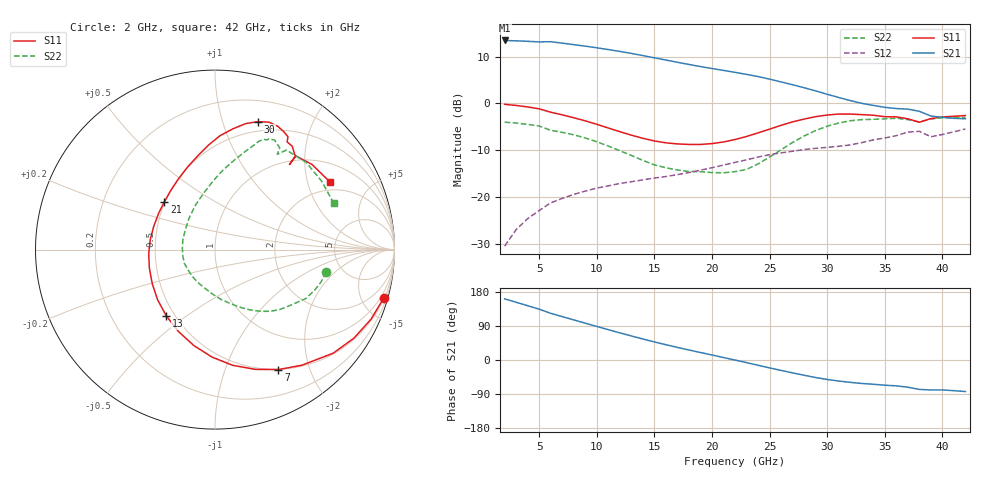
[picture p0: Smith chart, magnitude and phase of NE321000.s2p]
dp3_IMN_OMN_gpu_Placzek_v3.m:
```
%% 5-Element IMN Chebyshev Matching Network with Transformer for NE321000
% Implements the specific IMN topology: C5-C4-L3-L2-L6 with transformer
% For NEC NE321000 Transistor
% Design specifications:
% - Frequency range: 9-20 GHz
% - Sloped response (6 dB/octave)
% - IL_min = 0.0 dB and Ripple = 0.1 dB

clc;
clear all;
close all;



%% Constants and Unit Conversion
G = 10^9;    % 1 GHz
M = 10^6;    % 1 MHz
K = 10^3;    % 1 kHz
m = 10^-3;   % 1 milli
u = 10^-6;   % 1 micro
n = 10^-9;   % 1 nano
p = 10^-12;  % 1 pico
f = 10^-15;  % 1 femto

%% User Variables from Project Specs
fL = 9*G;    % Lower frequency (Hz)
fH = 20*G;   % Upper frequency (Hz)
f0 = sqrt(fL*fH);  % Center frequency (Hz)
fc = f0;     % Design center frequency (Hz)
BW_design = fH - fL;  % Design bandwidth (Hz)
Zs = 50;     % Source impedance (ohm)
Z0 = 50;     % System impedance (ohm)
N = 5;       % Network order (5 reactive elements)
Goal = -15;  % Goal S11 (dB)
ripple = 0.1; % Passband ripple in dB for Chebyshev filter
NS = 1;      % Use sloped insertion loss function (6 dB/octave)
NF = 14;     % Font size for plots

% Component bounds for optimization
L_lb = 0.2e-9;  % Lower bound of inductance (nH)
L_ub = 10.0e-9; % Upper bound of inductance (nH)
C_lb = 0.05e-12; % Lower bound of capacitance (pF)
C_ub = 5.0e-12;  % Upper bound of capacitance (pF)

% Transistor input impedance model parameters (from project specs)
Ri = 23.0767;         % Input resistance (ohms)
Ci = 245.2104 * f;    % Input capacitance (F)
Li = 347.8189 * p;    % Input inductance (H)

%% Frequency calculations
f_min = 8*G;   % Min freq for plotting (Hz)
f_max = 22*G;  % Max freq for plotting (Hz)
df = 50*M;     % Frequency step (Hz)

% Initialize frequency sweep
freq = f_min:df:f_max;
freq_key = [fL, f0, fH];
freq = union(freq, freq_key);
freq = sort(freq);
N_Freq = length(freq);
w = 2*pi*freq;  % Angular frequency

% Important angular frequencies
wU = 2*pi*fH;    % Upper angular frequency
wL = 2*pi*fL;    % Lower angular frequency
w0 = sqrt(wL*wU); % Center angular frequency
BW_w = wU - wL;  % Bandwidth (rad/s)

%% S-Parameter Reading for the NE321000 Transistor
% Read the S-parameter data from the uploaded file
fprintf('Reading S-parameters from NE321000.s2p file...\n');
[freq_FET, S_FET, Mult, S_Type] = Read_SParam_s2p('NE321000.s2p');

% Calculate impedance at each frequency point
Z0_FET = 50; % Assume 50 ohm reference
S11_FET = squeeze(S_FET(:,1,1));
Z_FET = Z0_FET * (1 + S11_FET) ./ (1 - S11_FET);

% Plot transistor S-parameters and impedance
figure(1);
plot(freq_FET/G, 20*log10(abs(squeeze(S_FET(:,1,1)))), 'b-', 'LineWidth', 1.5); hold on;
plot(freq_FET/G, 20*log10(abs(squeeze(S_FET(:,2,1)))), 'r-', 'LineWidth', 1.5);
grid on;
xlabel('Frequency (GHz)', 'FontSize', NF);
ylabel('Magnitude (dB)', 'FontSize', NF);
title('NE321000 Transistor S-Parameters', 'FontSize', NF);
legend('S11', 'S21', 'Location', 'best');
set(gca, 'FontSize', NF);

figure(2);
plot(freq_FET/G, real(Z_FET), 'b-', 'LineWidth', 1.5); hold on;
plot(freq_FET/G, imag(Z_FET), 'r-', 'LineWidth', 1.5);
grid on;
xlabel('Frequency (GHz)', 'FontSize', NF);
ylabel('Impedance (Ω)', 'FontSize', NF);
title('NE321000 Transistor Input Impedance', 'FontSize', NF);
legend('Real', 'Imaginary', 'Location', 'best');
set(gca, 'FontSize', NF);

%% Filter prototype - Chebyshev type I
% Calculate Chebyshev type I prototype element values
g = cheby1_g(N, ripple);

% Convert normalized filter prototype to component values
% The topology is: C5 (series) - C4 (shunt) - L3 (shunt) - L2 (series) - L6 (shunt)

% Calculate bandpass transformation scaling factors
FBW = BW_design/f0; % Fractional bandwidth

% For bandpass with Chebyshev prototype:
C5 = 1/(BW_w*Z0*w0*g(1));      % Series capacitor
C4 = g(2)/(BW_w*Z0);           % Shunt capacitor  
L3 = Z0*(BW_w)/(w0^2*g(3));    % Shunt inductor
L2 = Z0*g(4)/(BW_w);           % Series inductor
L6 = Z0*(BW_w)/(w0^2*g(5));    % Shunt inductor

% Store initial values
C5_init = C5;
C4_init = C4;
L3_init = L3;
L2_init = L2;
L6_init = L6;

% Display initial values (in pF and nH)
fprintf('Initial component values from Chebyshev prototype:\n');
fprintf('C5 = %.4f pF (series)\n', C5*1e12);
fprintf('C4 = %.4f pF (shunt)\n', C4*1e12);
fprintf('L3 = %.4f nH (shunt)\n', L3*1e9);
fprintf('L2 = %.4f nH (series)\n', L2*1e9);
fprintf('L6 = %.4f nH (shunt)\n', L6*1e9);

%% Transformer turns ratio calculation
% Calculate transformer initial value based on input impedance
nt_initial = sqrt(Z0/Ri);
fprintf('Initial transformer turns ratio = %.4f\n', nt_initial);

%% Impedance Matching Optimization
% Prepare optimization variables
x0 = [C5*1e12, C4*1e12, L3*1e9, L2*1e9, L6*1e9, nt_initial];  % Initial values [pF, pF, nH, nH, nH, ratio]
lb = [C_lb, C_lb, L_lb, L_lb, L_lb, 0.5];  % Lower bounds
ub = [C_ub, C_ub, L_ub, L_ub, L_ub, 3.0];  % Upper bounds

% Optimization function for sloped response
objFun = @(x) evaluate_network_sloped(x, freq, N_Freq, Ri, Ci, Li, Z0, Goal, fL, fH);

% Run the optimizer
fprintf('Starting optimization...\n');
options = optimoptions('fmincon', 'Display', 'iter', 'MaxIterations', 100, 'MaxFunctionEvaluations', 500);
[xopt, fval] = fmincon(objFun, x0, [], [], [], [], lb, ub, [], options);

% Get optimized component values
C5_opt = xopt(1)*1e-12;  % Convert back to F
C4_opt = xopt(2)*1e-12;
L3_opt = xopt(3)*1e-9;   % Convert back to H
L2_opt = xopt(4)*1e-9;
L6_opt = xopt(5)*1e-9;
nt_opt = xopt(6);        % Transformer turns ratio

% Display optimized values
fprintf('\nOptimized component values:\n');
fprintf('C5 = %.4f pF (series)\n', C5_opt*1e12);
fprintf('C4 = %.4f pF (shunt)\n', C4_opt*1e12);
fprintf('L3 = %.4f nH (shunt)\n', L3_opt*1e9);
fprintf('L2 = %.4f nH (series)\n', L2_opt*1e9);
fprintf('L6 = %.4f nH (shunt)\n', L6_opt*1e9);
fprintf('Transformer turns ratio = %.4f\n', nt_opt);
fprintf('Objective function value: %.4f\n', fval);

%% Evaluate initial and optimized networks
[S11_init, S21_init] = evaluate_full_network([C5_init*1e12, C4_init*1e12, L3_init*1e9, L2_init*1e9, L6_init*1e9, nt_initial], freq, Ri, Ci, Li, Z0);
[S11_opt, S21_opt] = evaluate_full_network([C5_opt*1e12, C4_opt*1e12, L3_opt*1e9, L2_opt*1e9, L6_opt*1e9, nt_opt], freq, Ri, Ci, Li, Z0);

% Find S-parameters at key frequencies
I_fx = ismember(freq, freq_key);
S11_fx_dB = 20*log10(abs(S11_opt(I_fx)));
S21_fx_dB = 20*log10(abs(S21_opt(I_fx)));

%% Plot results
figure(3);
plot(freq/G, 20*log10(abs(S11_init)), 'b--', 'LineWidth', 1.5); hold on;
plot(freq/G, 20*log10(abs(S11_opt)), 'r-', 'LineWidth', 2);
plot(freq_key/G, S11_fx_dB, 'ro', 'MarkerSize', 8, 'LineWidth', 2);
yline(Goal, 'k:', 'LineWidth', 1.5);
grid on;
xlim([f_min/G, f_max/G]);
xlabel('Frequency (GHz)', 'FontSize', NF);
ylabel('S11 (dB)', 'FontSize', NF);
legend('Initial', 'Optimized', 'Key Points', 'Goal', 'Location', 'best');
title('Input Return Loss (S11)', 'FontSize', NF);
set(gca, 'FontSize', NF);

figure(4);
plot(freq/G, 20*log10(abs(S21_init)), 'b--', 'LineWidth', 1.5); hold on;
plot(freq/G, 20*log10(abs(S21_opt)), 'r-', 'LineWidth', 2);
plot(freq_key/G, S21_fx_dB, 'ro', 'MarkerSize', 8, 'LineWidth', 2);
grid on;
xlim([f_min/G, f_max/G]);
xlabel('Frequency (GHz)', 'FontSize', NF);
ylabel('S21 (dB)', 'FontSize', NF);
legend('Initial', 'Optimized', 'Key Points', 'Location', 'best');
title('Forward Transmission (S21)', 'FontSize', NF);
set(gca, 'FontSize', NF);

%% Calculate performance metrics
fprintf('\nPerformance metrics:\n');

% Find band indices
band_idx = (freq >= fL) & (freq <= fH);
f_band = freq(band_idx);

% S11 metrics
S11_opt_band = S11_opt(band_idx);
S11_opt_dB = 20*log10(abs(S11_opt_band));
S11_worst = max(S11_opt_dB);
S11_avg = mean(S11_opt_dB);

fprintf('S11 worst in band: %.2f dB\n', S11_worst);
fprintf('S11 average in band: %.2f dB\n', S11_avg);

% S21 metrics
S21_opt_band = S21_opt(band_idx);
S21_opt_dB = 20*log10(abs(S21_opt_band));
S21_min = min(S21_opt_dB);
S21_max = max(S21_opt_dB);
S21_avg = mean(S21_opt_dB);
S21_flatness = S21_max - S21_min;

fprintf('S21 min in band: %.2f dB\n', S21_min);
fprintf('S21 max in band: %.2f dB\n', S21_max);
fprintf('S21 average in band: %.2f dB\n', S21_avg);
fprintf('S21 flatness in band: %.2f dB\n', S21_flatness);

% Check if we meet the 6 dB/octave slope requirement
S21_9GHz = interp1(freq, 20*log10(abs(S21_opt)), 9*G);
S21_18GHz = interp1(freq, 20*log10(abs(S21_opt)), 18*G);
slope_per_octave = S21_9GHz - S21_18GHz;
fprintf('S21 slope: %.2f dB/octave (target: 6 dB/octave)\n', slope_per_octave);

% % Create a Smith chart to visualize the matching
% figure(5);
% smithchart; hold on;
% % Convert S11 to reflection coefficient and plot
% plot(real(S11_opt), imag(S11_opt), 'r-', 'LineWidth', 2);
% % Mark the key frequencies
% plot(real(S11_opt(I_fx)), imag(S11_opt(I_fx)), 'ro', 'MarkerSize', 8, 'LineWidth', 2);
% title('Input Matching on Smith Chart', 'FontSize', NF);
% set(gca, 'FontSize', NF);

%% Save Results to a Mat File
save('NE321000_IMN_Design.mat', 'C5_opt', 'C4_opt', 'L3_opt', 'L2_opt', 'L6_opt', 'nt_opt', ...
    'freq', 'S11_opt', 'S21_opt', 'S11_opt_dB', 'S21_opt_dB', 'fL', 'f0', 'fH');

%% Helper functions
function g = cheby1_g(n, ripple_dB)
    % Calculate Chebyshev Type I filter prototype element values
    % n: filter order
    % ripple_dB: passband ripple in dB
    
    % Convert ripple from dB to linear scale
    epsilon = sqrt(10^(ripple_dB/10) - 1);
    
    % Calculate beta parameter
    beta = log(coth(ripple_dB/17.37));
    gamma = sinh(beta/(2*n));
    
    % Calculate a parameter
    a = zeros(1, n);
    for i = 1:n
        a(i) = sin(pi*(2*i-1)/(2*n));
    end
    
    % Initialize g values
    g = zeros(1, n+1);
    g(1) = 2*a(1)/gamma;
    
    % Calculate remaining g values
    for i = 2:n
        b1 = 1;
        b2 = 1;
        for j = 1:i-1
            b1 = b1 * a(j);
            b2 = b2 * a(i-j);
        end
        g(i) = 4*a(i-1)*a(i)/(b1*b2*gamma);
    end
    
    % Last element (for odd and even orders)
    if mod(n, 2) == 0
        % Even order
        b = 1;
        for j = 1:n/2
            b = b * sin((2*j-1)*pi/(2*n));
        end
        g(n+1) = 1/(tanh(beta/4)^2);
    else
        % Odd order
        g(n+1) = 1;
    end
end

function [S11, S21] = evaluate_full_network(x, freq, Ri, Ci, Li, Z0)
    % Evaluate the network performance for analysis
    % x: component values [C5, C4, L3, L2, L6, nt] in pF, nH and ratio
    
    % Convert to SI units
    C5 = x(1)*1e-12;  % pF to F
    C4 = x(2)*1e-12;
    L3 = x(3)*1e-9;   % nH to H
    L2 = x(4)*1e-9;
    L6 = x(5)*1e-9;
    nt = x(6);        % Transformer turns ratio
    
    % Frequency dependent analysis
    N_Freq = length(freq);
    S11 = zeros(N_Freq, 1);
    S21 = zeros(N_Freq, 1);
    
    for k = 1:N_Freq
        f_k = freq(k);
        w_k = 2*pi*f_k;
        
        % Transistor input impedance
        Z_transistor = Ri + 1/(1i*w_k*Ci) + 1i*w_k*Li;
        
        % Reflected impedance through transformer
        Z_reflected = Z_transistor / (nt^2);
        
        % Network elements' impedances
        Z_C5 = 1/(1i*w_k*C5);
        Z_C4 = 1/(1i*w_k*C4);
        Z_L3 = 1i*w_k*L3;
        Z_L2 = 1i*w_k*L2;
        Z_L6 = 1i*w_k*L6;
        
        % ABCD matrix calculation for each element
        T_C5 = [1, Z_C5; 0, 1];  % Series C5
        T_C4 = [1, 0; 1/Z_C4, 1];  % Shunt C4
        T_L3 = [1, 0; 1/Z_L3, 1];  % Shunt L3
        T_L2 = [1, Z_L2; 0, 1];  % Series L2
        T_L6 = [1, 0; 1/Z_L6, 1];  % Shunt L6
        
        % Cascade all matrices
        T = T_C5 * T_C4 * T_L3 * T_L2 * T_L6;
        
        % Convert ABCD to S-parameters with Z0 source and Z_reflected load
        A = T(1,1); B = T(1,2); C = T(2,1); D = T(2,2);
        
        % Calculate S-parameters
        denom = A*Z_reflected + B + C*Z0*Z_reflected + D*Z0;
        S11(k) = (A*Z_reflected + B - C*Z0*Z_reflected - D*Z0)/denom;
        S21(k) = 2*sqrt(real(Z0)*real(Z_reflected))/denom;
    end
end


function cost = evaluate_network_sloped(x, freq, N_Freq, Ri, Ci, Li, Z0, Goal, fL, fH)
    % Evaluate the network performance with a preference for sloped response
    % x: component values [C5, C4, L3, L2, L6, nt] in pF, nH and ratio
    
    % Get S-parameters
    [S11, S21] = evaluate_full_network(x, freq, Ri, Ci, Li, Z0);
    
    % Calculate return loss
    S11_dB = 20*log10(abs(S11));
    
    % Identify frequencies in the band
    band_idx = (freq >= fL) & (freq <= fH);
    f_band = freq(band_idx);
    S21_band = S21(band_idx);
    S21_dB_band = 20*log10(abs(S21_band));
    
    % Calculate cost for S11 (return loss)
    S11_cost = 0;
    for k = 1:N_Freq
        if S11_dB(k) > Goal
            S11_cost = S11_cost + (S11_dB(k) - Goal)^2;
        end
    end
    
    % Calculate cost for S21 slope
    % We want a 6 dB/octave slope (higher at lower frequencies)
    % Extract S21 at key frequencies
    S21_fL = interp1(freq, 20*log10(abs(S21)), fL);
    S21_fH = interp1(freq, 20*log10(abs(S21)), fH);
    
    % Calculate actual slope
    octaves = log2(fH/fL);
    target_slope = 6; % dB/octave
    actual_slope = (S21_fL - S21_fH) / octaves;
    
    % Penalize deviation from target slope
    slope_cost = (actual_slope - target_slope)^2;
    
    % Combine costs with appropriate weights
    total_cost = S11_cost + 2*slope_cost;
    
    % Add small penalty for extreme component values
    if any(x(1:5) < [0.05, 0.05, 0.1, 0.1, 0.1]) || any(x(1:5) > [5, 5, 10, 10, 10])
        total_cost = total_cost + 50;
    end
    
    % Add penalty for extreme transformer ratios
    if x(6) < 0.5 || x(6) > 3
        total_cost = total_cost + 50;
    end
    
    cost = total_cost;
end
```
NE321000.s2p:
! NEC Compound Semiconductor Devices Ltd.
! NE321000
! Ultra Low Noise Pseudomorphic HJ FET
! VDS = 2 V, IDS = 10 mA
#  GHz  S  MA  R  50
!  f  S11  S21  S12  S22
!	 GHz  MAG  ANG  MAG  ANG  MAG  ANG  MAG  ANG
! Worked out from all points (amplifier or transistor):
!   41 points, 2 GHz to 42 GHz, reference 50 ohm
!   highest |S21| = 13.4 dB at 2 GHz (marker M1)
!   |S21| within 3 dB of that: start of sweep to 13.51 GHz
!   unconditionally stable (mu >= 1): 15.53 GHz to 23.93 GHz
!   at 8 GHz: K = 0.63, MSG = 16.0 dB, |S12| = -19.4 dB
!   at 22 GHz: K = 1.03, MAG = 8.5 dB, |S12| = -12.6 dB
!   at 42 GHz: K = 0.97, MSG = 1.1 dB, |S12| = -5.4 dB
!   lowest NFmin = 0.21 dB at 2 GHz
!   S11 on the Smith chart (normalised r, x): 2 GHz: 0.55, -7.13; 7 GHz: 0.50, -1.55; 13 GHz: 0.45, -0.42; 21 GHz: 0.50, +0.31; 30 GHz: 0.40, +1.31; 42 GHz: 1.65, +2.78
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2  0.979 -15.9  4.7 161.4  0.03 0.1  0.631 -11.4
6  0.806 -53.0  4.557 123.2  0.087 59.4  0.517 -37.5
7  0.756 -62.1  4.4 114.5  0.097 55.2  0.492 -42.7
10  0.599 -91.6  3.925 88.6  0.125 43.3  0.39 -59.6
13  0.459 -126.1  3.418 63.5  0.146 32.8  0.279 -83.2
16  0.38 -164.2  2.904 40.4  0.166 24.3  0.206 -118.2
21  0.388 136.7  2.252 6.5  0.22 13.0  0.182 178.7
22  0.412 126.6  2.146 -0.1  0.235 10.2  0.187 163.8
26  0.584 93.5  1.697 -27.5  0.297 -5.1  0.32 101.5
30  0.752 71.5  1.253 -51.3  0.34 -21.7  0.571 72.9
42  0.743 30.5  0.686 -83.2  0.534 -67.4  0.71 21.5
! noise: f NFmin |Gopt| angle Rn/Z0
2  0.21  0.94  3.7  0.31
4  0.22  0.87  8.2  0.31
6  0.24  0.82  13.3  0.32
10  0.28  0.73  24.8  0.32
12  0.31  0.69  31.4  0.31
14  0.38  0.67  38.4  0.31
18  0.52  0.63  53.9  0.29
20  0.59  0.62  62.4  0.28
22  0.66  0.61  71.4  0.27
26  0.79  0.63  90.8  0.23
